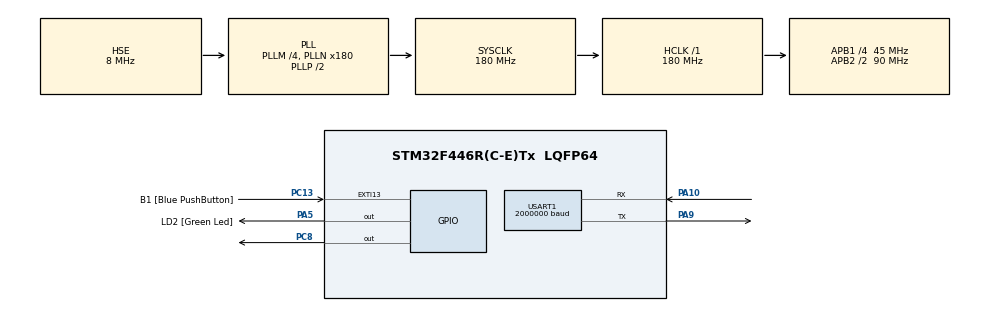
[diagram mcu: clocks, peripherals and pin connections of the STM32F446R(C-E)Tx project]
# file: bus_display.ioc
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Mcu.Family=STM32F4
Mcu.Name=STM32F446R(C-E)Tx
Mcu.Package=LQFP64
NVIC.PriorityGroup=NVIC_PRIORITYGROUP_0
NVIC.USART1_IRQn=true\:0\:0\:false\:false\:true\:true\:true\:true
PA10.Mode=Asynchronous
PA10.Signal=USART1_RX
PA13.GPIO_Label=TMS
PA13.Signal=SYS_JTMS-SWDIO
PA14.GPIO_Label=TCK
PA14.Signal=SYS_JTCK-SWCLK
PA2.GPIO_Label=USART_TX
PA2.Signal=USART2_TX
PA3.GPIO_Label=USART_RX
PA3.Signal=USART2_RX
PA5.GPIO_Label=LD2 [Green Led]
PA5.Signal=GPIO_Output
PA9.Mode=Asynchronous
PA9.Signal=USART1_TX
PB3.GPIO_Label=SWO
PB3.Signal=SYS_JTDO-SWO
PC13.GPIO_Label=B1 [Blue PushButton]
PC13.GPIO_ModeDefaultEXTI=GPIO_MODE_IT_FALLING
PC13.Signal=GPXTI13
PC14-OSC32_IN.Signal=RCC_OSC32_IN
PC15-OSC32_OUT.Signal=RCC_OSC32_OUT
PC8.Signal=GPIO_Output
PH0-OSC_IN.Mode=HSE-External-Clock-Source
PH0-OSC_IN.Signal=RCC_OSC_IN
PH1-OSC_OUT.Mode=HSE-External-Clock-Source
PH1-OSC_OUT.Signal=RCC_OSC_OUT
ProjectManager.HeapSize=0x200
ProjectManager.StackSize=0x400
ProjectManager.TargetToolchain=STM32CubeIDE
RCC.AHBFreq_Value=180000000
RCC.APB1CLKDivider=RCC_HCLK_DIV4
RCC.APB1Freq_Value=45000000
RCC.APB1TimFreq_Value=90000000
RCC.APB2CLKDivider=RCC_HCLK_DIV2
RCC.APB2Freq_Value=90000000
RCC.APB2TimFreq_Value=180000000
RCC.CortexFreq_Value=180000000
RCC.FLatency-AdvancedSettings=FLASH_LATENCY_5
RCC.HCLKFreq_Value=180000000
RCC.HSE_VALUE=8000000
RCC.HSI_VALUE=16000000
RCC.LSE_VALUE=32768
RCC.PLLM=4
RCC.PLLN=180
RCC.PLLSourceVirtual=RCC_PLLSOURCE_HSE
RCC.SYSCLKFreq_VALUE=180000000
RCC.SYSCLKSource=RCC_SYSCLKSOURCE_PLLCLK
RCC.USBFreq_Value=180000000
RCC.VCOOutputFreq_Value=360000000
USART1.BaudRate=2000000
USART1.VirtualMode=VM_ASYNC
board=NUCLEO-F446RE

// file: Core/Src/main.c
/* USER CODE BEGIN Header */
/**
  ******************************************************************************
  * @file           : main.c
  * @brief          : Main program body
  ******************************************************************************
  * @attention
  *
  * Copyright (c) 2025 STMicroelectronics.
  * All rights reserved.
  *
  * This software is licensed under terms that can be found in the LICENSE file
  * in the root directory of this software component.
  * If no LICENSE file comes with this software, it is provided AS-IS.
  *
  ******************************************************************************
  */
/* USER CODE END Header */
#include "main.h"

/* USER CODE BEGIN Includes */
#include "stdbool.h"
#include <string.h>

/* USER CODE END Includes */

UART_HandleTypeDef huart1;

void SystemClock_Config(void);
static void MX_GPIO_Init(void);
static void MX_USART1_UART_Init(void);

/* USER CODE BEGIN 0 */
void delay100(){
  for(int i = 0; i<1000; i++);
}

volatile uint8_t rdata[50] = {};
uint8_t zeros[50] = {};

bool send_deviate_expect(UART_HandleTypeDef *huart, const uint8_t *pData, uint16_t Size, const uint8_t *expected_data, uint16_t expectedSize, uint32_t Timeout){
  memset(rdata, 0, 50);
  HAL_GPIO_WritePin(GPIOC, GPIO_PIN_8, 1);
  asm volatile ("" : : "r" (*(unsigned int *) huart->Instance->SR));
  asm volatile ("" : : "r" (*(unsigned int *) huart->Instance->DR));
  HAL_UART_Receive_IT(&huart1, rdata, expectedSize);
  HAL_UART_Transmit_IT(huart, pData, Size);
  for(int i = 0; i<Timeout; i++);
  HAL_GPIO_WritePin(GPIOC, GPIO_PIN_8, 0);
  return !memcmp(rdata, expected_data, expectedSize);
}
bool send_thing(UART_HandleTypeDef *huart, const uint8_t *pData, uint16_t Size, uint32_t Timeout){
  send_deviate_expect(huart,pData, Size, pData, Size, Timeout);
}
unsigned char reverse(unsigned char b) {
   b = (b & 0xF0) >> 4 | (b & 0x0F) << 4;
   b = (b & 0xCC) >> 2 | (b & 0x33) << 2;
   b = (b & 0xAA) >> 1 | (b & 0x55) << 1;
   return b;
}
/* USER CODE END 0 */

int main(void)
{

  /* MCU Configuration--------------------------------------------------------*/

  /* Reset of all peripherals, Initializes the Flash interface and the Systick. */
  HAL_Init();

  /* Configure the system clock */
  SystemClock_Config();

  /* Initialize all configured peripherals */
  MX_GPIO_Init();
  MX_USART1_UART_Init();

  /* Infinite loop */
  /* USER CODE BEGIN WHILE */
  uint8_t images[] = {0,0,0,0,0,0,0,0,0,0,0,0,0,0,0,127,255,248,0,119,255,255,255,255,240,0,56,0,0,255,64,0,15,255,252,0,0,255,128,24,252,110,0,255,128,64,0,0,0,0,1,255,0,127,8,135,35,255,128,0,68,240,31,255,255,255,0,0,1,136,129,32,0,0,63,101,159,224,0,0,0,0,0,0,200,145,32,0,1,224,37,16,0,0,8,0,0,0,0,104,145,35,0,63,0,37,3,192,0,0,0,0,0,0,40,145,49,255,192,0,37,126,255,128,0,0,0,0,0,56,145,17,0,1,254,37,64,64,127,255,224,0,0,0,28,145,17,28,255,2,37,64,0,0,1,252,0,0,0,28,147,16,151,0,2,37,64,0,0,62,3,192,0,15,76,146,16,144,0,2,37,66,255,255,224,0,126,1,249,76,146,16,144,1,194,41,71,128,0,0,0,3,255,1,76,146,16,160,6,50,41,68,0,248,0,0,0,0,1,76,146,16,161,248,18,41,68,255,143,255,240,0,0,1,84,146,16,161,0,26,41,71,128,0,0,0,0,0,1,84,146,8,161,0,25,41,64,0,0,0,0,0,0,1,20,147,8,161,0,97,42,64,0,24,0,0,0,0,1,20,145,8,161,0,193,106,64,15,216,0,7,224,0,1,20,161,8,160,129,129,75,127,248,127,0,24,63,0,7,20,161,8,160,131,1,77,96,0,1,255,240,0,255,252,36,161,8,160,198,3,69,223,248,128,0,0,0,0,0,36,163,8,160,120,126,68,112,15,128,0,0,0,0,0,36,162,24,144,31,192,84,0,0,255,192,0,0,0,0,36,178,16,159,224,0,36,0,0,0,63,254,0,0,0,36,146,16,128,0,0,52,0,7,255,224,112,0,0,0,36,146,48,128,3,255,39,255,248,0,63,255,255,255,255,228,146,33,255,252,0,96,0,0,0,192,0,0,0,0,4,146,96,0,0,0,64,7,255,255,188,0,0,0,0,4,147,64,0,0,15,127,252,0,0,3,255,252,7,255,228,255,127,255,255,248,0,0,0,0,0,0,3,248,0,28,0,0,0,0,0,0,0,0,0,0,0,0,0,0,0,0,0,0,0,0,0,0,0,0,0,0,0,0,0,0,0,0,0,0,0,0,0,0,0,0,0,0,0,0,0,0,0,0,0,0,0,0,0,0,0,0,0,0,0,0,0,0,0,0,0,0,0,0,0,0,0,0,0,0,0,0,0,0,0,0,0,0,0,0,0,0,0,0,0,0,0,0,0,0,0,0,0,0,0,0,0,0,0,0,0,0,0,0,0,0,0,0,0,0,0,0,0,0,0,0,0,0,0,0,0,};
  uint8_t num_frames = sizeof(images)/15/40;
  uint8_t disp = 0x1;
  uint32_t cnt = 0;
  uint8_t adress99[167] = {disp, 0x0, 0,  0,  0,  0x6, 0xA0,
  };
  uint8_t address1[] = {0xFE, 0x00, 0x00, 0x00, 0x00, 0x00, 0x01, 0x01};
  uint8_t address111[] = {0xFE, 0x00, 0x00, 0x00, 0x00, 0x00, 0x01, 0x09};
  uint8_t address2[] = {0xFF, 0xFF, 0xFF, 0xFF, 0xFF, 0x0E, 0x01, 0xC8};
  uint8_t address4[] = {disp, 0x00, 0x00, 0x00, 0x00, 0x14, 0x00};
  uint8_t address3[] = {0xFF, 0xFF, 0xFF, 0xFF, 0xFF, 0x02, 0x00};
  uint8_t address9[] = {disp, 0x00, 0x00, 0x00, 0x00, 0x30, 0x02, 0x00, 0x00};
  uint8_t address5[] = {disp, 0x00, 0x00, 0x00, 0x00, 0x10, 0x00};
  uint8_t address6[] = {0xFF, 0xFF, 0xFF, 0xFF, 0xFF, 0x0A, 0x01, 0x03};
  uint8_t address7[] = {0xFF, 0xFF, 0xFF, 0xFF, 0xFF, 0x16, 0x01, 0x01};
  uint8_t address8[] = {disp, 0x00, 0x00, 0x00, 0x00, 0x30, 0x02, 0x00, 0x01};
  uint8_t addresses[]  = {0x6, 0x9, 0xC, 0xE, 0x10, 0x12, 0x14, 0x16, 0x18, 0x19, 0x1A, 0x1B, 0x1C, 0x1D, 0x1E, 0x1F, 0x20, 0x21, 0x22};
  uint32_t last_frame = 0;
  while (1)
  {
    int rx_ok = 1;
    if(!send_deviate_expect(&huart1, address1, sizeof(address1), address111, sizeof(address111), 20000)) {
      HAL_Delay(100);
      continue;
    }
    delay100();

    while(1){
      if(HAL_GetTick()-last_frame > 150){
        cnt = (cnt+1)%num_frames;
        last_frame = HAL_GetTick();
      }

      address6[7] = 0x22;
      if(!send_thing(&huart1, address6, sizeof(address6), 1000)){
        rx_ok = 0;
        break;
      }
      if(!send_thing(&huart1, address3, sizeof(address3), 1000)){
        rx_ok = 0;
        break;
      }
      uint8_t* framestart = images+cnt*40*15;
      for(int panvert=0; panvert<2; panvert++){
        for(int line=0;line<10;line++) {
          for (int col = 0; col < 7; col++) {
            adress99[7+line*16+1+8+6-col] = reverse(framestart[(line+panvert*20)*15+col]);
          }
          adress99[7+line*16+1+7] = reverse((framestart[(line+panvert*20)*15+7]&0b11110000) | framestart[(line+10+panvert*20)*15]>>4);
        }

        for(int line=0;line<10;line++) {
          for (int col = 0; col < 7; col++) {
            adress99[7+line*16+1+6-col] = reverse(framestart[(line+10+panvert*20)*15+col]<<4 | framestart[(line+10+panvert*20)*15+col+1]>>4);
          }
        }
        adress99[0] = (panvert*2)+1;
        HAL_UART_Transmit_IT(&huart1, adress99, sizeof(adress99));
        HAL_Delay(1);
      }
      memset(adress99+7, 0, 160);

      for(int panvert=0; panvert<2; panvert++){
        for(int line=0;line<10;line++) {
          for (int col = 0; col < 7; col++) {
            adress99[7+line*16+1+8+6-col] = reverse(framestart[(line+panvert*20)*15+col+7]<<4 | framestart[(line+panvert*20)*15+col+8]>>4);
          }
          adress99[7+line*16+1+7] = reverse((framestart[(line+panvert*20)*15+14]<<4) | (framestart[(line+10+panvert*20)*15+7]&0b1111));
        }

        for(int line=0;line<10;line++) {
          for (int col = 0; col < 7; col++) {
            adress99[7+line*16+1+6-col] = reverse(framestart[(line+10+panvert*20)*15+col+8]);
          }
        }
        adress99[0] = (panvert*2)+2;
        HAL_UART_Transmit_IT(&huart1, adress99, sizeof(adress99));
        HAL_Delay(1);
      }

      HAL_Delay(40);
    }

    /* USER CODE END WHILE */

  }
}

void SystemClock_Config(void)
{
  RCC_OscInitTypeDef RCC_OscInitStruct = {0};
  RCC_ClkInitTypeDef RCC_ClkInitStruct = {0};

  /** Configure the main internal regulator output voltage
  */
  __HAL_RCC_PWR_CLK_ENABLE();
  __HAL_PWR_VOLTAGESCALING_CONFIG(PWR_REGULATOR_VOLTAGE_SCALE1);

  /** Initializes the RCC Oscillators according to the specified parameters
  * in the RCC_OscInitTypeDef structure.
  */
  RCC_OscInitStruct.OscillatorType = RCC_OSCILLATORTYPE_HSE;
  RCC_OscInitStruct.HSEState = RCC_HSE_BYPASS;
  RCC_OscInitStruct.PLL.PLLState = RCC_PLL_ON;
  RCC_OscInitStruct.PLL.PLLSource = RCC_PLLSOURCE_HSE;
  RCC_OscInitStruct.PLL.PLLM = 4;
  RCC_OscInitStruct.PLL.PLLN = 180;
  RCC_OscInitStruct.PLL.PLLP = RCC_PLLP_DIV2;
  RCC_OscInitStruct.PLL.PLLQ = 2;
  RCC_OscInitStruct.PLL.PLLR = 2;
  if (HAL_RCC_OscConfig(&RCC_OscInitStruct) != HAL_OK)
  {
    Error_Handler();
  }

  /** Activate the Over-Drive mode
  */
  if (HAL_PWREx_EnableOverDrive() != HAL_OK)
  {
    Error_Handler();
  }

  /** Initializes the CPU, AHB and APB buses clocks
  */
  RCC_ClkInitStruct.ClockType = RCC_CLOCKTYPE_HCLK|RCC_CLOCKTYPE_SYSCLK
                              |RCC_CLOCKTYPE_PCLK1|RCC_CLOCKTYPE_PCLK2;
  RCC_ClkInitStruct.SYSCLKSource = RCC_SYSCLKSOURCE_PLLCLK;
  RCC_ClkInitStruct.AHBCLKDivider = RCC_SYSCLK_DIV1;
  RCC_ClkInitStruct.APB1CLKDivider = RCC_HCLK_DIV4;
  RCC_ClkInitStruct.APB2CLKDivider = RCC_HCLK_DIV2;

  if (HAL_RCC_ClockConfig(&RCC_ClkInitStruct, FLASH_LATENCY_5) != HAL_OK)
  {
    Error_Handler();
  }
}

static void MX_USART1_UART_Init(void)
{

  huart1.Instance = USART1;
  huart1.Init.BaudRate = 2000000;
  huart1.Init.WordLength = UART_WORDLENGTH_8B;
  huart1.Init.StopBits = UART_STOPBITS_1;
  huart1.Init.Parity = UART_PARITY_NONE;
  huart1.Init.Mode = UART_MODE_TX_RX;
  huart1.Init.HwFlowCtl = UART_HWCONTROL_NONE;
  huart1.Init.OverSampling = UART_OVERSAMPLING_16;
  if (HAL_UART_Init(&huart1) != HAL_OK)
  {
    Error_Handler();
  }

}

static void MX_GPIO_Init(void)
{
  GPIO_InitTypeDef GPIO_InitStruct = {0};

  /* GPIO Ports Clock Enable */
  __HAL_RCC_GPIOC_CLK_ENABLE();
  __HAL_RCC_GPIOH_CLK_ENABLE();
  __HAL_RCC_GPIOA_CLK_ENABLE();
  __HAL_RCC_GPIOB_CLK_ENABLE();

  /*Configure GPIO pin Output Level */
  HAL_GPIO_WritePin(LD2_GPIO_Port, LD2_Pin, GPIO_PIN_RESET);

  /*Configure GPIO pin Output Level */
  HAL_GPIO_WritePin(GPIOC, GPIO_PIN_8, GPIO_PIN_RESET);

  /*Configure GPIO pin : B1_Pin */
  GPIO_InitStruct.Pin = B1_Pin;
  GPIO_InitStruct.Mode = GPIO_MODE_IT_FALLING;
  GPIO_InitStruct.Pull = GPIO_NOPULL;
  HAL_GPIO_Init(B1_GPIO_Port, &GPIO_InitStruct);

  /*Configure GPIO pins : USART_TX_Pin USART_RX_Pin */
  GPIO_InitStruct.Pin = USART_TX_Pin|USART_RX_Pin;
  GPIO_InitStruct.Mode = GPIO_MODE_AF_PP;
  GPIO_InitStruct.Pull = GPIO_NOPULL;
  GPIO_InitStruct.Speed = GPIO_SPEED_FREQ_VERY_HIGH;
  GPIO_InitStruct.Alternate = GPIO_AF7_USART2;
  HAL_GPIO_Init(GPIOA, &GPIO_InitStruct);

  /*Configure GPIO pin : LD2_Pin */
  GPIO_InitStruct.Pin = LD2_Pin;
  GPIO_InitStruct.Mode = GPIO_MODE_OUTPUT_PP;
  GPIO_InitStruct.Pull = GPIO_NOPULL;
  GPIO_InitStruct.Speed = GPIO_SPEED_FREQ_LOW;
  HAL_GPIO_Init(LD2_GPIO_Port, &GPIO_InitStruct);

  /*Configure GPIO pin : PC8 */
  GPIO_InitStruct.Pin = GPIO_PIN_8;
  GPIO_InitStruct.Mode = GPIO_MODE_OUTPUT_PP;
  GPIO_InitStruct.Pull = GPIO_NOPULL;
  GPIO_InitStruct.Speed = GPIO_SPEED_FREQ_LOW;
  HAL_GPIO_Init(GPIOC, &GPIO_InitStruct);

}

void Error_Handler(void)
{
  __disable_irq();
  while (1)
  {
  }
}
